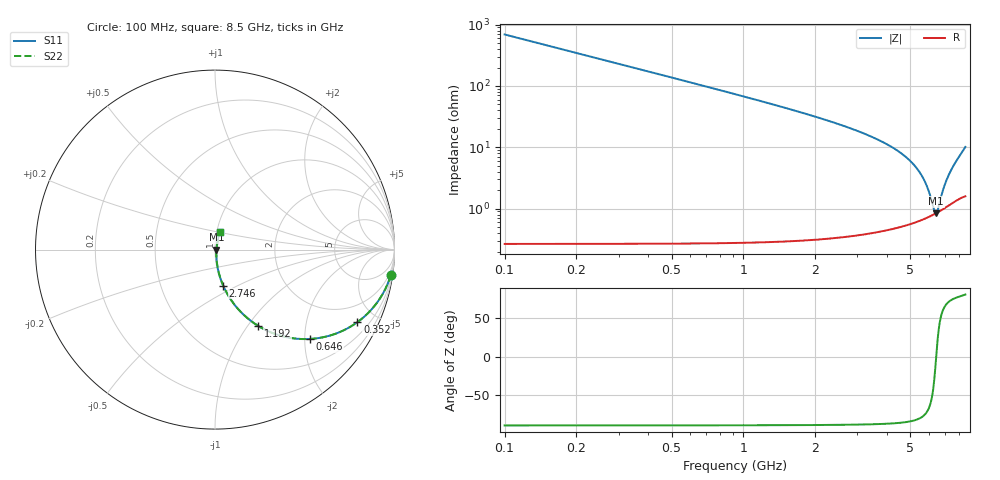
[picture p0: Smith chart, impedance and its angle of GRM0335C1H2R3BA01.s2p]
!Murata Part Number: GRM0335C1H2R3BA01
!These Parameters are Measured in Series Mode Connection
!Data Generated on Mar 30, 2021
!  o--ll--o
!Port1  Port2
!  o------o
!Operation Temp=25[degC], DC Bias Voltage=0[V]
!Freq. Start=100[MHz] Stop=9[GHz] 401[Steps]
# Hz S RI R 50
!Freq.(Hz) S11(Real) S11(Imag) S21(Real) S21(Imag) S12(Real) S12(Imag) S22(Real) S22(Imag)
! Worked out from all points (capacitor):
!   401 points, 100 MHz to 8.5 GHz, reference 50 ohm
!   read as one part in series: C = 2.3 pF near 142 MHz
!   lowest |Z| = 842 mohm at 6.4 GHz (marker M1)
!   series resonance near 6.414 GHz, so ESL is about 270 pH
!   S11 on the Smith chart (normalised r, x): 100 MHz: 1, -14; 352 MHz: 1.01, -3.92; 646 MHz: 1.01, -2.12; 1.192 GHz: 1.01, -1.13; 2.746 GHz: 1.01, -0.42; 8.5 GHz: 1.03, +0.20
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1e8  0.9795 -0.1416  0.0205 0.1416  0.0205 0.1416  0.9795 -0.1416
2.26e8  0.9032 -0.2952  0.0968 0.2952  0.0968 0.2952  0.9032 -0.2952
3.52e8  0.7932 -0.4043  0.2068 0.4043  0.2068 0.4043  0.7932 -0.4043
4.99e8  0.6552 -0.4743  0.3448 0.4743  0.3448 0.4743  0.6552 -0.4743
6.46e8  0.5298 -0.4978  0.4702 0.4978  0.4702 0.4978  0.5298 -0.4978
8.98e8  0.3649 -0.4796  0.6351 0.4796  0.6351 0.4796  0.3649 -0.4796
1.192e9  0.2417 -0.4256  0.7583 0.4256  0.7583 0.4256  0.2417 -0.4256
1.507e9  0.1618 -0.365  0.8382 0.365  0.8382 0.365  0.1618 -0.365
2.032e9  0.0901 -0.2813  0.9099 0.2813  0.9099 0.2813  0.0901 -0.2813
2.746e9  0.0455 -0.2004  0.9545 0.2004  0.9545 0.2004  0.0455 -0.2004
2.914e9  0.0393 -0.1852  0.9607 0.1852  0.9607 0.1852  0.0393 -0.1852
4.3e9  0.0134 -0.0927  0.9866 0.0927  0.9866 0.0927  0.0134 -0.0927
5.14e9  0.00853 -0.0524  0.9915 0.0524  0.9915 0.0524  0.00853 -0.0524
5.707e9  0.00753 -0.0283  0.9925 0.0283  0.9925 0.0283  0.00753 -0.0283
5.98e9  0.00759 -0.0172  0.9924 0.0172  0.9924 0.0172  0.00759 -0.0172
6.295e9  0.00807 -0.0047  0.9919 0.0047  0.9919 0.0047  0.00807 -0.0047
6.4e9  0.00833 -0.000552  0.9917 0.000552  0.9917 0.000552  0.00833 -0.000552
6.505e9  0.00864 0.00358  0.9914 -0.00358  0.9914 -0.00358  0.00864 0.00358
6.82e9  0.00987 0.016  0.9901 -0.016  0.9901 -0.016  0.00987 0.016
7.114e9  0.0114 0.0278  0.9886 -0.0278  0.9886 -0.0278  0.0114 0.0278
7.639e9  0.0153 0.0499  0.9847 -0.0499  0.9847 -0.0499  0.0153 0.0499
8.5e9  0.0252 0.0963  0.9748 -0.0963  0.9748 -0.0963  0.0252 0.0963
